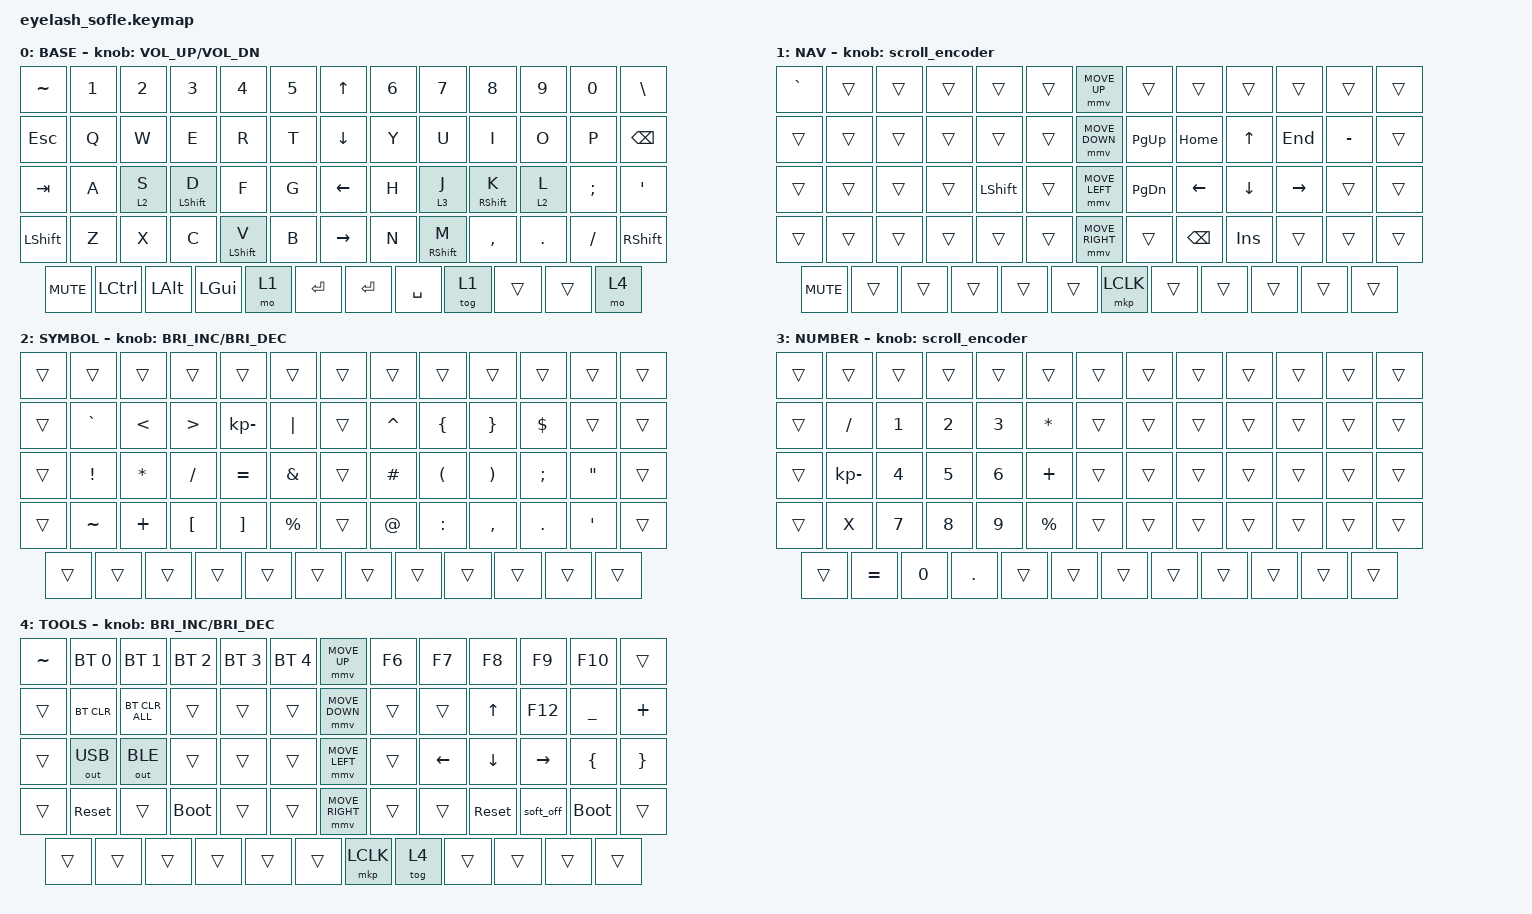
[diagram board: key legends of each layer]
#define ZMK_POINTING_DEFAULT_MOVE_VAL 1200  // 600
#define ZMK_POINTING_DEFAULT_SCRL_VAL 25   // 10

#include <input/processors.dtsi>
#include <zephyr/dt-bindings/input/input-event-codes.h>
#include <behaviors.dtsi>
#include <dt-bindings/zmk/bt.h>
#include <dt-bindings/zmk/ext_power.h>
#include <dt-bindings/zmk/keys.h>
#include <dt-bindings/zmk/pointing.h>
#include <dt-bindings/zmk/rgb.h>
#include <dt-bindings/zmk/outputs.h>
#include <dt-bindings/zmk/behaviors.h>

&mmv_input_listener { input-processors = <&zip_xy_scaler 2 1>; };
&msc_input_listener { input-processors = <&zip_scroll_scaler 2 1>; };

&msc {
    acceleration-exponent = <1>;    // 0
    time-to-max-speed-ms = <100>;   // 300
    delay-ms = <0>;                 // 0
};

&mmv {
    time-to-max-speed-ms = <500>;
    acceleration-exponent = <1>;
    trigger-period-ms = <16>;
};

/ {
    scroll_encoder: scroll_encoder {
        compatible = "zmk,behavior-sensor-rotate";
        #sensor-binding-cells = <0>;
        bindings = <&msc SCRL_DOWN>, <&msc SCRL_UP>;
        tap-ms = <100>;
    };

    behaviors {
        hml: home_row_mod_left {
            compatible = "zmk,behavior-hold-tap";
            #binding-cells = <2>;
            flavor = "balanced";
            require-prior-idle-ms = <150>;
            tapping-term-ms = <280>;
            quick-tap-ms = <175>;
            bindings = <&kp>, <&kp>;
            hold-trigger-key-positions = <A S D Z>; // List of keys on the right side of the keyboard
            hold-trigger-on-release;
        };
        hmr: home_row_mod_right {
            compatible = "zmk,behavior-hold-tap";
            #binding-cells = <2>;
            flavor = "balanced";
            require-prior-idle-ms = <150>;
            tapping-term-ms = <280>;
            quick-tap-ms = <175>;
            bindings = <&kp>, <&kp>;
            hold-trigger-key-positions = <J K L FSLH>; // List of keys on the left side of the keyboard
            hold-trigger-on-release;
        };
        hlt: home_layer_tap {
            compatible = "zmk,behavior-hold-tap";
            #binding-cells = <2>;
            flavor = "tap-preferred";
            tapping-term-ms = <200>;
            bindings = <&mo>, <&kp>;
            display-name = "Layer-Tap";
        };
    };

    keymap {
        compatible = "zmk,keymap";

        layer_0 {
            display-name = "BASE";
            sensor-bindings = <&inc_dec_kp C_VOLUME_UP C_VOL_DN>;
            bindings = <
&kp TILDE   &kp N1   &kp N2   &kp N3   &kp N4   &kp N5   &kp UP_ARROW   &kp N6   &kp N7   &kp N8   &kp N9   &kp N0   &kp BSLH
&kp ESC   &kp Q   &kp W   &kp E   &kp R   &kp T   &kp DOWN_ARROW   &kp Y   &kp U   &kp I   &kp O   &kp P   &kp BACKSPACE
&kp TAB   &kp A   &hlt 2 S   &hml LSHFT D   &kp F   &kp G   &kp LEFT_ARROW   &kp H   &hlt 3 J   &hmr RSHFT K   &hlt 2 L   &kp SEMI   &kp APOS
&kp LSHFT   &kp Z   &kp X   &kp C   &hml LSHFT V   &kp B   &kp RIGHT_ARROW   &kp N   &hmr RSHFT M   &kp COMMA   &kp DOT   &kp FSLH   &kp RSHFT
&kp C_MUTE   &kp LCTRL   &kp LEFT_ALT   &kp LEFT_GUI   &mo 1   &kp ENTER   &kp ENTER   &kp SPACE   &tog 1   &trans   &trans   &mo 4   
            >;
        };

        layer_1 {
            display-name = "NAV";
            sensor-bindings = <&scroll_encoder>;
            bindings = <
&kp GRAVE   &trans   &trans   &trans   &trans   &trans   &mmv MOVE_UP   &trans   &trans   &trans   &trans   &trans   &trans
&trans   &trans   &trans   &trans   &trans   &trans   &mmv MOVE_DOWN   &kp PG_UP   &kp HOME   &kp UP   &kp END   &kp MINUS   &trans
&trans   &trans   &trans   &trans   &kp LSHFT   &trans   &mmv MOVE_LEFT   &kp PG_DN   &kp LEFT   &kp DOWN   &kp RIGHT   &trans   &trans
&trans   &trans   &trans   &trans   &trans   &trans   &mmv MOVE_RIGHT   &trans   &kp BACKSPACE   &kp INSERT   &trans   &trans   &trans
&kp C_MUTE   &trans   &trans   &trans   &trans   &trans   &mkp LCLK   &trans   &trans   &trans   &trans   &trans   
            >;
        };

        layer_2 {
            display-name = "SYMBOL";
            sensor-bindings = <&inc_dec_kp C_BRIGHTNESS_INC C_BRIGHTNESS_DEC>;
            bindings = <
&trans   &trans   &trans   &trans   &trans   &trans   &trans   &trans   &trans   &trans   &trans   &trans   &trans
&trans   &kp GRAVE   &kp LT   &kp GT   &kp KP_MINUS   &kp PIPE   &trans   &kp CARET   &kp LEFT_BRACE   &kp RIGHT_BRACE   &kp DOLLAR   &trans   &trans
&trans   &kp EXCL   &kp STAR   &kp SLASH   &kp EQUAL   &kp AMPS   &trans   &kp HASH   &kp LPAR   &kp RPAR   &kp SEMI   &kp DQT   &trans
&trans   &kp TILDE   &kp PLUS   &kp LBKT   &kp RBKT   &kp PRCNT   &trans   &kp AT   &kp COLON   &kp COMMA   &kp DOT   &kp SQT   &trans
&trans   &trans   &trans   &trans   &trans   &trans   &trans   &trans   &trans   &trans   &trans   &trans   
            >;
        };

        layer_3 {
            display-name = "NUMBER";
            sensor-bindings = <&scroll_encoder>;
            bindings = <
&trans   &trans   &trans   &trans   &trans   &trans   &trans   &trans   &trans   &trans   &trans   &trans   &trans
&trans   &kp FSLH   &kp N1   &kp N2   &kp N3   &kp STAR   &trans   &trans   &trans   &trans   &trans   &trans   &trans
&trans   &kp KP_MINUS   &kp N4   &kp N5   &kp N6   &kp PLUS   &trans   &trans   &trans   &trans   &trans   &trans   &trans
&trans   &kp X   &kp N7   &kp N8   &kp N9   &kp PRCNT   &trans   &trans   &trans   &trans   &trans   &trans   &trans
&trans   &kp EQUAL   &kp N0   &kp DOT   &trans   &trans   &trans   &trans   &trans   &trans   &trans   &trans
            >;
        };

        layer_4 {
            display-name = "TOOLS";
            sensor-bindings = <&inc_dec_kp C_BRIGHTNESS_INC C_BRIGHTNESS_DEC>;
            bindings = <
                &kp TILDE   &bt BT_SEL 0   &bt BT_SEL 1   &bt BT_SEL 2   &bt BT_SEL 3   &bt BT_SEL 4   &mmv MOVE_UP   &kp F6   &kp F7   &kp F8   &kp F9   &kp F10   &trans
                &trans   &bt BT_CLR   &bt BT_CLR_ALL   &trans   &trans   &trans   &mmv MOVE_DOWN   &trans   &trans   &kp UP   &kp F12   &kp UNDER   &kp PLUS
                &trans   &out OUT_USB   &out OUT_BLE   &trans   &trans   &trans   &mmv MOVE_LEFT   &trans   &kp LEFT   &kp DOWN   &kp RIGHT   &kp LBRC   &kp RBRC
                &trans   &sys_reset   &trans   &bootloader   &trans   &trans   &mmv MOVE_RIGHT   &trans   &trans   &sys_reset   &soft_off   &bootloader   &trans
                &trans   &trans   &trans   &trans   &trans   &trans   &mkp LCLK   &tog 4   &trans   &trans   &trans   &trans   
            >;
        };
    };
};
